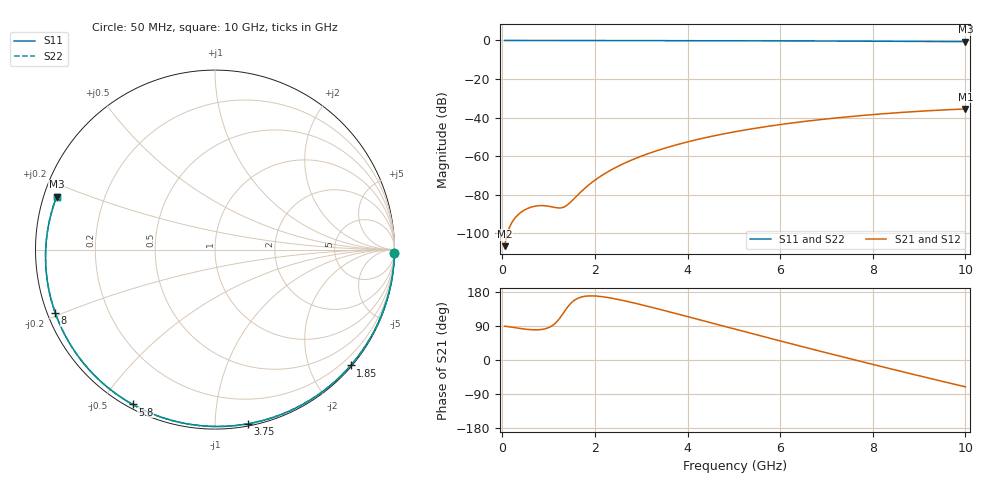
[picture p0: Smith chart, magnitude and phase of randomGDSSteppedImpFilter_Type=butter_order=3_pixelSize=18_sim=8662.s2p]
! freq	dB(S11)	phase(S11)	dB(S12)	phase(S12)
!  dB(S21)	phase(S21)	dB(S22)	phase(S22)
!S-par simulation data
#  GHz  S  DB  R 50
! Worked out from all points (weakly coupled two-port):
!   200 points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, 50 MHz to 10 GHz, reference 50 ohm
!   highest |S21| = -35.51 dB at 10 GHz (marker M1); lowest = -106.7 dB at 50 MHz (marker M2)
!   lowest |S11| = -0.6 dB at 10 GHz (marker M3), VSWR 27.69, Z = 1.85 + j8.11 ohm
!   |S11| at or under -10 dB: nowhere
!   |S22| runs from -0.6 to 0.0 dB; largest |S21 - S12| = 0
!   S11 on the Smith chart (normalised r, x): 50 MHz: open; 1.85 GHz: 0.02, -2.71; 3.75 GHz: 0.02, -1.21; 5.8 GHz: 0.02, -0.60; 8 GHz: 0.02, -0.19; 10 GHz: 0.04, +0.16
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0.05  -0.00 -1.1  -106.65 89.3  -106.65 89.3  -0.00 -1.1
0.4  -0.01 -8.9  -89.15 82.9  -89.15 82.9  -0.01 -8.9
0.8  -0.02 -17.8  -85.66 79.9  -85.66 79.9  -0.02 -17.8
1.6  -0.04 -35.1  -80.82 160.9  -80.82 160.9  -0.04 -35.1
1.65  -0.05 -36.2  -79.62 163.8  -79.62 163.8  -0.05 -36.2
1.75  -0.05 -38.4  -77.34 167.4  -77.34 167.4  -0.05 -38.3
1.85  -0.05 -40.5  -75.25 169.0  -75.25 169.0  -0.05 -40.5
2.15  -0.06 -46.8  -69.99 167.2  -69.99 167.2  -0.06 -46.8
2.5  -0.07 -54.1  -65.24 159.8  -65.24 159.8  -0.07 -54.1
2.9  -0.08 -62.4  -60.94 148.9  -60.94 148.9  -0.08 -62.3
3.4  -0.10 -72.4  -56.66 133.7  -56.66 133.7  -0.10 -72.4
3.75  -0.11 -79.4  -54.17 122.6  -54.17 122.6  -0.11 -79.3
4.4  -0.13 -91.9  -50.32 101.7  -50.32 101.7  -0.13 -91.9
5.05  -0.16 -104.2  -47.21 80.7  -47.21 80.7  -0.16 -104.2
5.8  -0.20 -118.0  -44.29 56.7  -44.29 56.7  -0.20 -118.0
6.7  -0.26 -134.4  -41.49 28.3  -41.49 28.3  -0.26 -134.4
7.35  -0.32 -146.3  -39.83 8.2  -39.83 8.2  -0.32 -146.3
8  -0.38 -158.3  -38.44 -11.7  -38.44 -11.7  -0.38 -158.3
8.35  -0.42 -165.0  -37.78 -22.3  -37.78 -22.3  -0.42 -164.9
9.2  -0.52 178.3  -36.44 -47.5  -36.44 -47.5  -0.52 178.4
9.6  -0.57 170.1  -35.94 -59.2  -35.94 -59.2  -0.57 170.1
10  -0.63 161.5  -35.51 -70.8  -35.51 -70.8  -0.63 161.6
